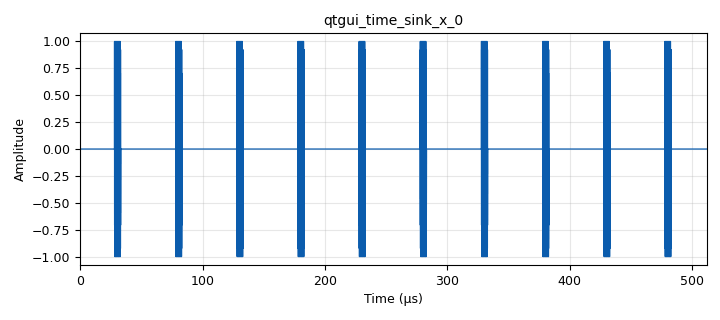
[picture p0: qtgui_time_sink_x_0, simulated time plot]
options:
  parameters:
    author: Sundar
    generate_options: qt_gui
    id: Burst_5M
    output_language: python
    title: Not titled yet
  states: {}

blocks:
- name: burst_sample
  id: variable
  parameters:
    value: int(5e-6*samp_rate)
  states: {}
- name: repetition_rate
  id: variable
  parameters:
    value: '1600'
  states: {}
- name: samp_rate
  id: variable
  parameters:
    value: '32000000'
  states: {}
- name: analog_sig_source_x_0
  id: analog_sig_source_x
  parameters:
    amp: '1'
    freq: '10000000'
    offset: '0'
    phase: '0'
    samp_rate: samp_rate
    type: complex
    waveform: analog.GR_SIN_WAVE
  states: {}
- name: blocks_complex_to_float_0
  id: blocks_complex_to_float
  parameters: {}
  states: {}
- name: blocks_file_sink_0
  id: blocks_file_sink
  parameters:
    file: C:\Users\suppo\gr-custom-izt\tone\test\Burst_5ms.et
    type: short
  states: {}
- name: blocks_float_to_short_0
  id: blocks_float_to_short
  parameters:
    scale: '1'
  states: {}
- name: blocks_multiply_xx_0
  id: blocks_multiply_xx
  parameters:
    type: complex
  states: {}
- name: blocks_vector_source_x_0
  id: blocks_vector_source_x
  parameters:
    repeat: 'True'
    type: complex
    vector: '[1+0j]*burst_sample + [0+0j]*(repetition_rate-burst_sample)'
  states: {}
- name: qtgui_time_sink_x_0
  id: qtgui_time_sink_x
  parameters:
    size: '16384'
    srate: samp_rate
    type: float
  states: {}

connections:
- [analog_sig_source_x_0, '0', blocks_multiply_xx_0, '0']
- [blocks_complex_to_float_0, '0', blocks_float_to_short_0, '0']
- [blocks_complex_to_float_0, '0', qtgui_time_sink_x_0, '0']
- [blocks_float_to_short_0, '0', blocks_file_sink_0, '0']
- [blocks_multiply_xx_0, '0', blocks_complex_to_float_0, '0']
- [blocks_vector_source_x_0, '0', blocks_multiply_xx_0, '1']

metadata:
  file_format: 1
  grc_version: 3.10.12.0
